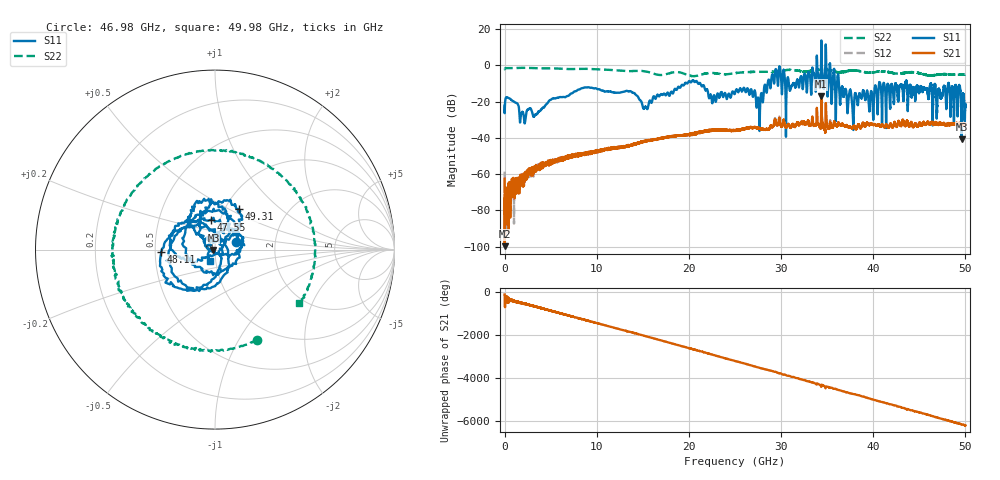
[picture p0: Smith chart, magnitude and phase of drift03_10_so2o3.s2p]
!Created with skrf (http://scikit-rf.org).
# Hz S RI R 50.0
!freq ReS11 ImS11 ReS21 ImS21 ReS12 ImS12 ReS22 ImS22
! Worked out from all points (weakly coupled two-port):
!   10001 points, 300 kHz to 50 GHz, reference 50 ohm
!   highest |S21| = -17.03 dB at 34.37 GHz (marker M1); lowest = -99.8 dB at 20.3 MHz (marker M2)
!   lowest |S11| = -40.7 dB at 49.59 GHz (marker M3), VSWR 1.02, Z = 49.1 - j0.208 ohm
!   |S11| at or under -10 dB: start of sweep to 19.56 GHz; 21.25 GHz to 28.55 GHz (7.297 GHz wide, 29.3 % of centre); 36.28 GHz to 40.63 GHz (4.353 GHz wide, 11.3 % of centre) (the widest 3 of 37)
!   |S22| runs from -6.0 to -1.3 dB; largest |S21 - S12| = 0.027
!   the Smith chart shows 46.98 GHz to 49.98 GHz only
!   S11 on the Smith chart (normalised r, x): 46.98 GHz: 1.26, +0.10; 47.55 GHz: 0.91, +0.31; 48.11 GHz: 0.54, -0.01; 49.31 GHz: 1.16, +0.56; 49.98 GHz: 0.94, -0.12
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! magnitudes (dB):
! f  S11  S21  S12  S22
! 300 kHz  -22.2  -62.5  -58.6  -2.1
! 20.3 MHz  -24.0  -99.8  -75.5  -1.9
! 255.3 MHz  -17.6  -70.3  -72.5  -1.4
! 3.3 GHz  -27.3  -58.1  -57.1  -1.5
! 8.335 GHz  -12.6  -49.1  -49.5  -1.9
! 15.28 GHz  -22.8  -41.9  -41.8  -3.3
! 16.67 GHz  -16.5  -40.6  -40.5  -5.2
! 25 GHz  -15.2  -35.7  -35.9  -4.3
! 27.52 GHz  -17.9  -34.5  -34.5  -3.5
! 29.28 GHz  -8.7  -31.1  -30.7  -3.4
! 30.73 GHz  -6.6  -32.7  -32.6  -2.5
! 33.34 GHz  -7.2  -31.2  -31.4  -2.9
! 34.37 GHz  13.8  -17.0  -18.3  -2.3
! 37.84 GHz  -35.1  -33.7  -34.2  -2.8
! 41.67 GHz  -11.9  -34.4  -34.1  -3.7
! 46.98 GHz  -18.1  -32.5  -32.5  -5.1
! 47.55 GHz  -15.5  -32.3  -32.2  -4.8
! 48.11 GHz  -10.5  -31.9  -32.1  -4.8
! 49.31 GHz  -11.6  -32.4  -32.4  -5.1
! 49.59 GHz  -40.7  -32.6  -32.9  -5.1
! 49.98 GHz  -23.2  -32.6  -32.6  -5.1
! 50 GHz  -21.9  -32.4  -32.6  -5.0
